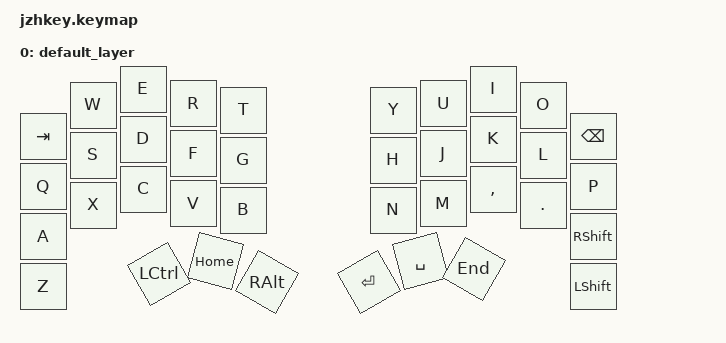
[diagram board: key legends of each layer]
#include <behaviors.dtsi>
#include <dt-bindings/zmk/bt.h>
#include <dt-bindings/zmk/keys.h>
#include <dt-bindings/zmk/outputs.h>

/ {
    keymap {
            compatible = "zmk,keymap";

            default_layer {
                    bindings = <

                        &kp TAB &kp W &kp E &kp R      &kp T                            &kp Y       &kp U  &kp I       &kp O   &kp BSPC 
                        &kp Q   &kp S &kp D &kp F      &kp G                            &kp H       &kp J  &kp K       &kp L   &kp P 
                        &kp A   &kp X &kp C &kp V      &kp B                            &kp N       &kp M  &kp COMMA   &kp DOT &kp RSHFT 
                        &kp Z         &kp LSHFT &kp LCTRL  &kp HOME                         &kp RALT    &kp RET  &kp SPACE           &kp END   

                                >;

            };
    };
};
